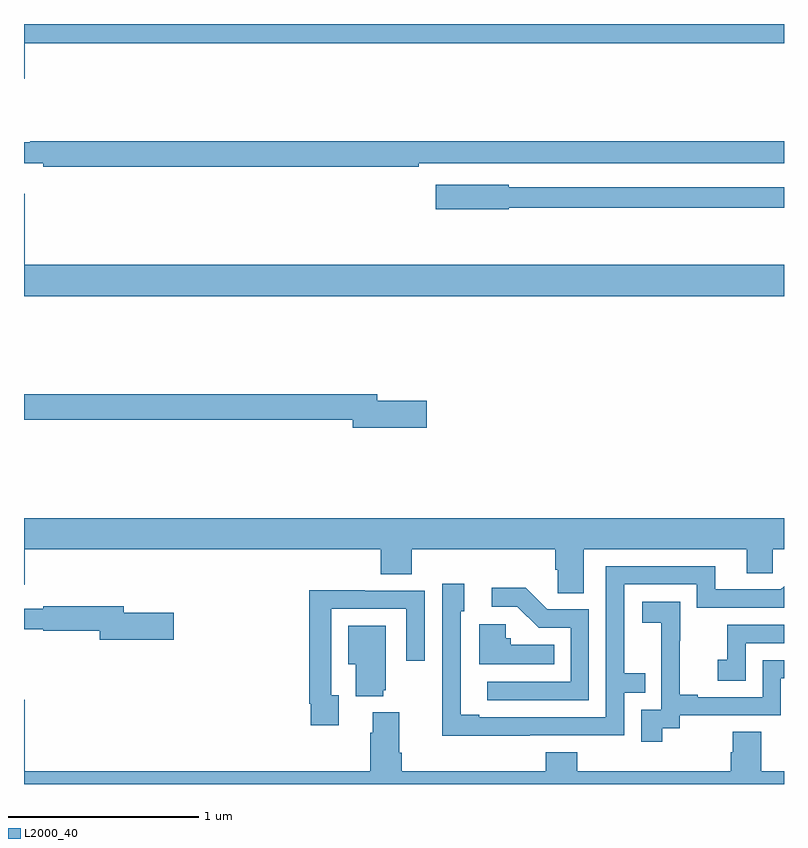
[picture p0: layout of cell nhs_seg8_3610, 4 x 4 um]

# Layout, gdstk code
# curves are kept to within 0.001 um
import gdstk
lib = gdstk.Library(unit=1e-6, precision=1e-09)
def P(c, l, *ps):  # polygons
    for p in ps: c.add(gdstk.Polygon(p, *l))
L2000_40 = (2000, 40)

nhs_seg8_3610 = lib.new_cell('nhs_seg8_3610')
P(nhs_seg8_3610, L2000_40, [(333.004,1149.8),(337,1149.8),(337,1149.9),(333,1149.9),(333,1149.612),(333.004,1149.612)],
  [(335.078,1149.168),(337,1149.168),(337,1149.284),(333.032,1149.284),(333.032,1149.277),(333,1149.277),(333,1149.167),(333.1,1149.167),(333.1,1149.148),(335.078,1149.148)],
  [(335.55,1148.934),(337,1148.934),(337,1149.042),(335.55,1149.042),(335.55,1149.055),(335.166,1149.055),(335.166,1148.926),(335.55,1148.926)],
  [(337,1148.632),(333.004,1148.632),(333.004,1149.007),(333,1149.007),(333,1148.468),(337,1148.468)],
  [(335.119,1147.916),(334.858,1147.916),(334.858,1147.952),(333,1147.952),(333,1147.816),(334.73,1147.816),(334.73,1147.774),(335.119,1147.774)],
  [(335.947,1147.136),(336.803,1147.136),(336.803,1147.009),(336.942,1147.009),(336.942,1147.136),(337,1147.136),(337,1147.3),(333,1147.3),(333,1146.948),(333.004,1146.948),(333.004,1147.136),(334.877,1147.136),(334.877,1147.003),(335.042,1147.003),(335.042,1147.136),(335.795,1147.136),(335.795,1147.027),(335.808,1147.027),(335.808,1146.904),(335.947,1146.904)],
  [(335.663,1146.156),(336.159,1146.156),(336.159,1146.381),(336.269,1146.381),(336.269,1146.482),(336.159,1146.482),(336.159,1146.951),(336.54,1146.951),(336.54,1146.828),(337,1146.828),(337,1146.94),(336.984,1146.924),(336.637,1146.924),(336.637,1147.047),(336.063,1147.047),(336.063,1146.252),(335.395,1146.252),(335.395,1146.265),(335.298,1146.265),(335.298,1146.81),(335.317,1146.81),(335.317,1146.955),(335.202,1146.955),(335.202,1146.461),(335.2,1146.461),(335.2,1146.155)],
  [(335.973,1146.819),(335.754,1146.819),(335.641,1146.932),(335.463,1146.932),(335.463,1146.834),(335.597,1146.834),(335.708,1146.723),(335.877,1146.723),(335.877,1146.438),(335.439,1146.438),(335.439,1146.342),(335.973,1146.342)],
  [(334.657,1146.366),(334.617,1146.366),(334.617,1146.822),(335.013,1146.822),(335.013,1146.549),(335.109,1146.549),(335.109,1146.918),(334.793,1146.918),(334.793,1146.92),(334.501,1146.92),(334.501,1146.322),(334.509,1146.322),(334.509,1146.21),(334.657,1146.21)],
  [(336.358,1146.193),(336.45,1146.193),(336.45,1146.261),(336.984,1146.261),(336.984,1146.456),(337,1146.456),(337,1146.552),(336.888,1146.552),(336.888,1146.357),(336.547,1146.357),(336.547,1146.37),(336.452,1146.37),(336.452,1146.653),(336.453,1146.653),(336.453,1146.859),(336.255,1146.859),(336.255,1146.749),(336.353,1146.749),(336.353,1146.521),(336.354,1146.521),(336.354,1146.291),(336.249,1146.291),(336.249,1146.123),(336.358,1146.123)],
  [(333.787,1146.801),(333.526,1146.801),(333.526,1146.835),(333.1,1146.835),(333.1,1146.822),(333,1146.822),(333,1146.714),(333.102,1146.714),(333.102,1146.706),(333.398,1146.706),(333.398,1146.659),(333.787,1146.659)],
  [(335.792,1146.634),(335.562,1146.634),(335.562,1146.666),(335.535,1146.666),(335.535,1146.742),(335.396,1146.742),(335.396,1146.53),(335.792,1146.53)],
  [(336.798,1146.642),(337,1146.642),(337,1146.738),(336.7,1146.738),(336.7,1146.553),(336.651,1146.553),(336.651,1146.444),(336.798,1146.444)],
  [(334.892,1146.393),(334.903,1146.393),(334.903,1146.733),(334.706,1146.733),(334.706,1146.53),(334.745,1146.53),(334.745,1146.362),(334.892,1146.362)],
  [(337,1145.968),(336.879,1145.968),(336.879,1146.176),(336.731,1146.176),(336.731,1146.066),(336.719,1146.066),(336.719,1145.968),(335.912,1145.968),(335.912,1146.067),(335.747,1146.067),(335.747,1145.968),(334.988,1145.968),(334.988,1146.064),(334.975,1146.064),(334.975,1146.277),(334.835,1146.277),(334.835,1146.17),(334.823,1146.17),(334.823,1145.968),(333.004,1145.968),(333.004,1146.343),(333,1146.343),(333,1145.9),(337,1145.9)])

lib.write_gds('nhs_seg8_3610.gds')
